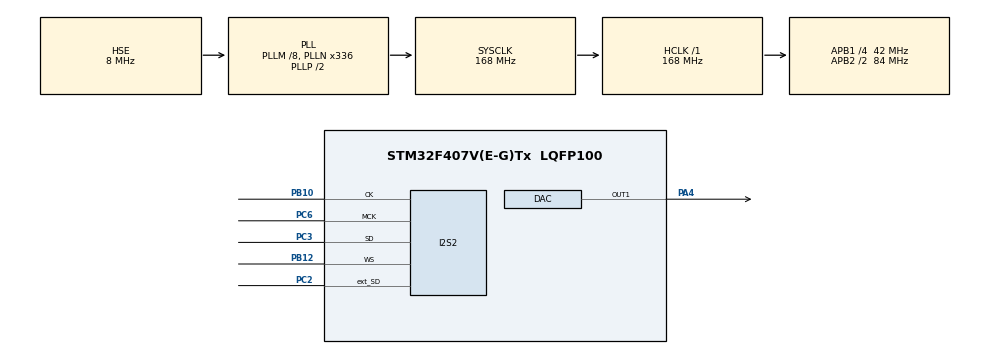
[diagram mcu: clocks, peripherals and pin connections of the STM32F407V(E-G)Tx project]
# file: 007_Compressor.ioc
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Dma.DAC1.0.Direction=DMA_MEMORY_TO_PERIPH
Dma.DAC1.0.FIFOMode=DMA_FIFOMODE_DISABLE
Dma.DAC1.0.Instance=DMA1_Stream5
Dma.DAC1.0.MemDataAlignment=DMA_MDATAALIGN_HALFWORD
Dma.DAC1.0.MemInc=DMA_MINC_ENABLE
Dma.DAC1.0.Mode=DMA_CIRCULAR
Dma.DAC1.0.PeriphDataAlignment=DMA_PDATAALIGN_HALFWORD
Dma.DAC1.0.PeriphInc=DMA_PINC_DISABLE
Dma.DAC1.0.Priority=DMA_PRIORITY_LOW
Dma.I2S2_EXT_RX.1.Direction=DMA_PERIPH_TO_MEMORY
Dma.I2S2_EXT_RX.1.FIFOMode=DMA_FIFOMODE_DISABLE
Dma.I2S2_EXT_RX.1.Instance=DMA1_Stream3
Dma.I2S2_EXT_RX.1.MemDataAlignment=DMA_MDATAALIGN_BYTE
Dma.I2S2_EXT_RX.1.MemInc=DMA_MINC_ENABLE
Dma.I2S2_EXT_RX.1.Mode=DMA_CIRCULAR
Dma.I2S2_EXT_RX.1.PeriphDataAlignment=DMA_PDATAALIGN_BYTE
Dma.I2S2_EXT_RX.1.PeriphInc=DMA_PINC_DISABLE
Dma.I2S2_EXT_RX.1.Priority=DMA_PRIORITY_LOW
Dma.Request0=DAC1
Dma.Request1=I2S2_EXT_RX
Dma.Request2=SPI2_TX
Dma.SPI2_TX.2.Direction=DMA_MEMORY_TO_PERIPH
Dma.SPI2_TX.2.FIFOMode=DMA_FIFOMODE_DISABLE
Dma.SPI2_TX.2.Instance=DMA1_Stream4
Dma.SPI2_TX.2.MemDataAlignment=DMA_MDATAALIGN_BYTE
Dma.SPI2_TX.2.MemInc=DMA_MINC_ENABLE
Dma.SPI2_TX.2.Mode=DMA_CIRCULAR
Dma.SPI2_TX.2.PeriphDataAlignment=DMA_PDATAALIGN_BYTE
Dma.SPI2_TX.2.PeriphInc=DMA_PINC_DISABLE
Dma.SPI2_TX.2.Priority=DMA_PRIORITY_LOW
I2S2.AudioFreq=I2S_AUDIOFREQ_96K
I2S2.DataFormat=I2S_DATAFORMAT_16B_EXTENDED
I2S2.ErrorAudioFreq=-2.34 %
I2S2.FullDuplexMode=I2S_FULLDUPLEXMODE_ENABLE
I2S2.Instance=SPI$Index
I2S2.RealAudioFreq=93.75 KHz
I2S2.VirtualMode=I2S_MODE_MASTER
Mcu.Family=STM32F4
Mcu.Name=STM32F407V(E-G)Tx
Mcu.Package=LQFP100
NVIC.DMA1_Stream3_IRQn=true\:0\:0\:false\:false\:true\:false\:true\:true
NVIC.DMA1_Stream4_IRQn=true\:0\:0\:false\:false\:true\:false\:true\:true
NVIC.DMA1_Stream5_IRQn=true\:0\:0\:false\:false\:true\:false\:true\:true
NVIC.PriorityGroup=NVIC_PRIORITYGROUP_0
PA13.Mode=Serial_Wire
PA13.Signal=SYS_JTMS-SWDIO
PA14.Mode=Serial_Wire
PA14.Signal=SYS_JTCK-SWCLK
PA4.Signal=COMP_DAC1_group
PB10.Mode=Full_Duplex_Master
PB10.Signal=I2S2_CK
PB12.Mode=Full_Duplex_Master
PB12.Signal=I2S2_WS
PC14-OSC32_IN.Mode=LSE-External-Oscillator
PC14-OSC32_IN.Signal=RCC_OSC32_IN
PC15-OSC32_OUT.Mode=LSE-External-Oscillator
PC15-OSC32_OUT.Signal=RCC_OSC32_OUT
PC2.Mode=Full_Duplex_Master
PC2.Signal=I2S2_ext_SD
PC3.Mode=Full_Duplex_Master
PC3.Signal=I2S2_SD
PC6.Mode=Master_Clock_Activated
PC6.Signal=I2S2_MCK
PH0-OSC_IN.Mode=HSE-External-Oscillator
PH0-OSC_IN.Signal=RCC_OSC_IN
PH1-OSC_OUT.Mode=HSE-External-Oscillator
PH1-OSC_OUT.Signal=RCC_OSC_OUT
ProjectManager.HeapSize=0x200
ProjectManager.StackSize=0x400
ProjectManager.TargetToolchain=STM32CubeIDE
RCC.48MHZClocksFreq_Value=48000000
RCC.AHBFreq_Value=168000000
RCC.APB1CLKDivider=RCC_HCLK_DIV4
RCC.APB1Freq_Value=42000000
RCC.APB1TimFreq_Value=84000000
RCC.APB2CLKDivider=RCC_HCLK_DIV2
RCC.APB2Freq_Value=84000000
RCC.APB2TimFreq_Value=168000000
RCC.CortexFreq_Value=168000000
RCC.HCLKFreq_Value=168000000
RCC.HSE_VALUE=8000000
RCC.HSI_VALUE=16000000
RCC.PLLM=8
RCC.PLLN=336
RCC.PLLQ=7
RCC.PLLSourceVirtual=RCC_PLLSOURCE_HSE
RCC.SYSCLKFreq_VALUE=168000000
RCC.SYSCLKSource=RCC_SYSCLKSOURCE_PLLCLK
RCC.VCOOutputFreq_Value=336000000
SH.COMP_DAC1_group.0=DAC_OUT1,DAC_OUT1
board=STM32F407G-DISC1

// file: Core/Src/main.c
/* USER CODE BEGIN Header */
/**
 ******************************************************************************
 * @file           : main.c
 * @brief          : Main program body
 ******************************************************************************
 * @attention
 *
 * Copyright (c) 2025 STMicroelectronics.
 * All rights reserved.
 *
 * This software is licensed under terms that can be found in the LICENSE file
 * in the root directory of this software component.
 * If no LICENSE file comes with this software, it is provided AS-IS.
 *
 ******************************************************************************
 */
/* USER CODE END Header */
#include "main.h"

/* USER CODE BEGIN Includes */
#include "arm_math.h"
#include "math.h"
/* USER CODE END Includes */

DAC_HandleTypeDef hdac;
DMA_HandleTypeDef hdma_dac1;

I2S_HandleTypeDef hi2s2;
DMA_HandleTypeDef hdma_i2s2_ext_rx;
DMA_HandleTypeDef hdma_spi2_tx;

/* USER CODE BEGIN PV */
// 0 = no gain reduction
// 1 = attack
// 2 = gain reduction
// 3 = release
enum CompStates {
	S_NoOperation, S_Attack, S_GainReduction, S_Release
};
enum CompStates State = S_NoOperation;

int32_t Attack, Release, Hold, TimeOut;
float gainreduce, gain_step_attack, gain_step_release, gain, threshold;

uint16_t rxBuf[8];
uint16_t txBuf[8];
/* USER CODE END PV */

void SystemClock_Config(void);
static void MX_GPIO_Init(void);
static void MX_DMA_Init(void);
static void MX_DAC_Init(void);
static void MX_I2S2_Init(void);

int main(void) {

	/* USER CODE BEGIN 1 */
	// 1 sample = 1/96kHz = ~10us
	//Attack -> 30 ms -> 3000
	//Release -> 20 ms -> 2000
	//Hold -> 10ms -> 1000
	Attack = 3000;
	Release = 2000;
	Hold = 1000;

	//threshold -20dB below limit -> 0.1 * 2^31
	threshold = 0.1f * 2147483648;

	//compression ratio: 6:1 -> -6dB = 0.5
	gainreduce = 0.5f;

	gain_step_attack = (1.0f - gainreduce) / Attack;
	gain_step_release = (1.0f - gainreduce) / Release;

	//initial gain = 1.0 -> no compression
	gain = 1.0f;
	/* USER CODE END 1 */

	/* MCU Configuration--------------------------------------------------------*/

	/* Reset of all peripherals, Initializes the Flash interface and the Systick. */
	HAL_Init();

	/* Configure the system clock */
	SystemClock_Config();

	/* Initialize all configured peripherals */
	MX_GPIO_Init();
	MX_DMA_Init();
	MX_DAC_Init();
	MX_I2S2_Init();
	/* USER CODE BEGIN 2 */
	HAL_I2SEx_TransmitReceive_DMA(&hi2s2, txBuf, rxBuf, 4);

	/* USER CODE END 2 */

	/* Infinite loop */
	while (1) {

	}
}

void SystemClock_Config(void) {
	RCC_OscInitTypeDef RCC_OscInitStruct = { 0 };
	RCC_ClkInitTypeDef RCC_ClkInitStruct = { 0 };

	/** Configure the main internal regulator output voltage
	 */
	__HAL_RCC_PWR_CLK_ENABLE();
	__HAL_PWR_VOLTAGESCALING_CONFIG(PWR_REGULATOR_VOLTAGE_SCALE1);

	/** Initializes the RCC Oscillators according to the specified parameters
	 * in the RCC_OscInitTypeDef structure.
	 */
	RCC_OscInitStruct.OscillatorType = RCC_OSCILLATORTYPE_HSE;
	RCC_OscInitStruct.HSEState = RCC_HSE_ON;
	RCC_OscInitStruct.PLL.PLLState = RCC_PLL_ON;
	RCC_OscInitStruct.PLL.PLLSource = RCC_PLLSOURCE_HSE;
	RCC_OscInitStruct.PLL.PLLM = 8;
	RCC_OscInitStruct.PLL.PLLN = 336;
	RCC_OscInitStruct.PLL.PLLP = RCC_PLLP_DIV2;
	RCC_OscInitStruct.PLL.PLLQ = 7;
	if (HAL_RCC_OscConfig(&RCC_OscInitStruct) != HAL_OK) {
		Error_Handler();
	}

	/** Initializes the CPU, AHB and APB buses clocks
	 */
	RCC_ClkInitStruct.ClockType = RCC_CLOCKTYPE_HCLK | RCC_CLOCKTYPE_SYSCLK
			| RCC_CLOCKTYPE_PCLK1 | RCC_CLOCKTYPE_PCLK2;
	RCC_ClkInitStruct.SYSCLKSource = RCC_SYSCLKSOURCE_PLLCLK;
	RCC_ClkInitStruct.AHBCLKDivider = RCC_SYSCLK_DIV1;
	RCC_ClkInitStruct.APB1CLKDivider = RCC_HCLK_DIV4;
	RCC_ClkInitStruct.APB2CLKDivider = RCC_HCLK_DIV2;

	if (HAL_RCC_ClockConfig(&RCC_ClkInitStruct, FLASH_LATENCY_5) != HAL_OK) {
		Error_Handler();
	}
}

static void MX_DAC_Init(void) {

	DAC_ChannelConfTypeDef sConfig = { 0 };

	/** DAC Initialization
	 */
	hdac.Instance = DAC;
	if (HAL_DAC_Init(&hdac) != HAL_OK) {
		Error_Handler();
	}

	/** DAC channel OUT1 config
	 */
	sConfig.DAC_Trigger = DAC_TRIGGER_NONE;
	sConfig.DAC_OutputBuffer = DAC_OUTPUTBUFFER_ENABLE;
	if (HAL_DAC_ConfigChannel(&hdac, &sConfig, DAC_CHANNEL_1) != HAL_OK) {
		Error_Handler();
	}

}

static void MX_I2S2_Init(void) {

	hi2s2.Instance = SPI2;
	hi2s2.Init.Mode = I2S_MODE_MASTER_TX;
	hi2s2.Init.Standard = I2S_STANDARD_PHILIPS;
	hi2s2.Init.DataFormat = I2S_DATAFORMAT_16B_EXTENDED;
	hi2s2.Init.MCLKOutput = I2S_MCLKOUTPUT_ENABLE;
	hi2s2.Init.AudioFreq = I2S_AUDIOFREQ_96K;
	hi2s2.Init.CPOL = I2S_CPOL_LOW;
	hi2s2.Init.ClockSource = I2S_CLOCK_PLL;
	hi2s2.Init.FullDuplexMode = I2S_FULLDUPLEXMODE_ENABLE;
	if (HAL_I2S_Init(&hi2s2) != HAL_OK) {
		Error_Handler();
	}

}

static void MX_DMA_Init(void) {

	/* DMA controller clock enable */
	__HAL_RCC_DMA1_CLK_ENABLE();

	/* DMA interrupt init */
	/* DMA1_Stream3_IRQn interrupt configuration */
	HAL_NVIC_SetPriority(DMA1_Stream3_IRQn, 0, 0);
	HAL_NVIC_EnableIRQ(DMA1_Stream3_IRQn);
	/* DMA1_Stream4_IRQn interrupt configuration */
	HAL_NVIC_SetPriority(DMA1_Stream4_IRQn, 0, 0);
	HAL_NVIC_EnableIRQ(DMA1_Stream4_IRQn);
	/* DMA1_Stream5_IRQn interrupt configuration */
	HAL_NVIC_SetPriority(DMA1_Stream5_IRQn, 0, 0);
	HAL_NVIC_EnableIRQ(DMA1_Stream5_IRQn);

}

static void MX_GPIO_Init(void) {

	/* GPIO Ports Clock Enable */
	__HAL_RCC_GPIOC_CLK_ENABLE();
	__HAL_RCC_GPIOH_CLK_ENABLE();
	__HAL_RCC_GPIOA_CLK_ENABLE();
	__HAL_RCC_GPIOB_CLK_ENABLE();

}

/* USER CODE BEGIN 4 */
int DoCompressor(int inSample) {
	float inSampleF = (float) inSample;

	if (fabs(inSampleF) > threshold) {
		if (gain >= gainreduce) {
			if (State == S_NoOperation) {
				State = S_Attack;
				TimeOut = Attack;
			} else if (State == S_Release) {
				State = S_Attack;
				TimeOut = Attack;
			}
		}
		if (State == S_GainReduction)
			TimeOut = Hold;

	}

	if (fabs(inSampleF) < threshold && gain <= 1.0f) {
		if (TimeOut == 0 && State == S_GainReduction) {
			State = S_Release;
			TimeOut = Release;
		}
	}
	switch (State) {

	case S_Attack:
		if (TimeOut > 0 && gain > gainreduce) {
			gain -= gain_step_attack;
			TimeOut--;
		} else {
			State = S_GainReduction;
			TimeOut = Hold;
		}
		break;

	case S_GainReduction:
		if (TimeOut > 0)
			TimeOut--;
		else {
			State = S_Release;
			TimeOut = Release;
		}
		break;

	case S_Release:
		if (TimeOut > 0 && gain < 1.0f) {
			TimeOut--;
			gain += gain_step_release;
		} else {
			State = S_NoOperation;
		}
		break;

	case S_NoOperation:
		if (gain < 1.0f)
			gain = 1.0F;
		break;

	default:

		break;

	}
	float outSampleF = inSample * gain;

	return (int) outSampleF;
}

void HAL_I2SEx_TxRxHalfCpltCallback(I2S_HandleTypeDef *hi2s) {

	//restore signed 24 bit sample from 16-bit buffers
	int lSample = (int) (rxBuf[0] << 16) | rxBuf[1];
	int rSample = (int) (rxBuf[2] << 16) | rxBuf[3];

	// divide by 2 (rightshift) -> -3dB per sample
	lSample = lSample >> 1;
	rSample = rSample >> 1;

	//sum to mono
	lSample = rSample + lSample;
	rSample = lSample;

	//run HP on left channel and LP on right channel
	lSample = DoCompressor(lSample);
	//rSample = DoCompressor(rSample);

	//restore to buffer
	txBuf[0] = (lSample >> 16) & 0xFFFF;
	txBuf[1] = lSample & 0xFFFF;
	txBuf[2] = (rSample >> 16) & 0xFFFF;
	txBuf[3] = rSample & 0xFFFF;
}

void HAL_I2SEx_TxRxCpltCallback(I2S_HandleTypeDef *hi2s) {

	//restore signed 24 bit sample from 16-bit buffers
	int lSample = (int) (rxBuf[4] << 16) | rxBuf[5];
	int rSample = (int) (rxBuf[6] << 16) | rxBuf[7];

	// divide by 2 (rightshift) -> -3dB per sample
	lSample = lSample >> 1;
	rSample = rSample >> 1;

	//sum to mono
	lSample = rSample + lSample;
	rSample = lSample;

	//run HP on left channel and LP on right channel
	lSample = DoCompressor(lSample);
	//rSample = DoCompressor(rSample);

	//restore to buffer
	txBuf[4] = (lSample >> 16) & 0xFFFF;
	txBuf[5] = lSample & 0xFFFF;
	txBuf[6] = (rSample >> 16) & 0xFFFF;
	txBuf[7] = rSample & 0xFFFF;
}

/* USER CODE END 4 */

void Error_Handler(void) {
	__disable_irq();
	while (1) {
	}
}
